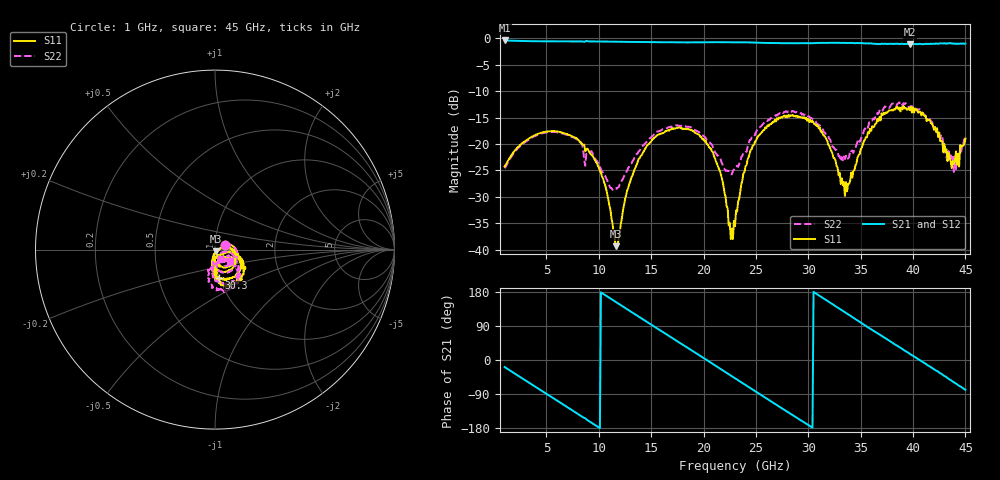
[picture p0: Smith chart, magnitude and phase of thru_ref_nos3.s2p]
!Keysight Technologies,N5247B,MY61255062,A.19.80.06
!Date: Monday, May 18, 2026 12:05:44
!Correction: S11(Cdelta 2-Port  )
!S21(Cdelta 2-Port  )
!S12(Cdelta 2-Port  )
!S22(Cdelta 2-Port  )
!S2P File: Measurements: S11, S21, S12, S22:
# Hz S  dB  R 50
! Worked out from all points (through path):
!   441 points, 1 GHz to 45 GHz, reference 50 ohm
!   highest |S21| = -0.40 dB at 1 GHz (marker M1); lowest = -1.1 dB at 39.7 GHz (marker M2)
!   group delay of S21, straight-line fit = 49.2 ps
!   lowest |S11| = -39.4 dB at 11.6 GHz (marker M3), VSWR 1.02, Z = 50.5 - j0.956 ohm
!   |S11| at or under -10 dB: start of sweep to end of sweep
!   |S22| runs from -28.7 to -12.1 dB; largest |S21 - S12| = 0.021
!   S11 on the Smith chart (normalised r, x): 1 GHz: 1.12, +0.06; 30.3 GHz: 0.99, -0.33; 45 GHz: 1.20, -0.15
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1e9  -24.28 23.8  -0.40 -18.5  -0.40 -18.5  -24.60 23.9
4.8e9  -17.73 -16.6  -0.56 -85.8  -0.57 -85.8  -17.88 -14.0
8.4e9  -20.05 -70.3  -0.59 -149.6  -0.59 -149.6  -20.08 -57.5
1.04e10  -26.52 -96.1  -0.61 174.9  -0.61 174.8  -25.44 -70.6
1.16e10  -39.36 -61.5  -0.64 153.5  -0.64 153.5  -28.34 -36.8
1.36e10  -23.96 10.1  -0.68 118.2  -0.68 118.1  -21.95 -9.7
1.57e10  -18.20 -20.2  -0.76 81.0  -0.77 81.0  -17.62 -29.7
1.96e10  -18.33 -79.6  -0.75 12.4  -0.76 12.3  -17.82 -75.7
2.15e10  -24.92 -104.1  -0.74 -21.5  -0.74 -21.5  -22.57 -81.8
2.26e10  -37.99 -70.6  -0.76 -41.1  -0.76 -41.1  -25.51 -53.3
2.3e10  -35.57 -15.1  -0.77 -48.2  -0.77 -48.2  -24.33 -42.7
2.53e10  -18.36 -6.6  -0.83 -89.3  -0.84 -89.3  -17.04 -28.4
2.75e10  -14.98 -41.5  -0.90 -127.8  -0.93 -127.9  -13.99 -54.6
3.03e10  -15.84 -81.8  -0.94 -176.9  -0.92 -176.8  -15.09 -86.6
3.04e10  -15.62 -78.5  -0.91 -178.6  -0.91 -178.7  -15.27 -90.0
3.37e10  -28.97 -54.4  -0.89 122.4  -0.89 122.0  -22.87 -59.2
3.56e10  -18.71 -12.5  -0.94 88.1  -0.94 88.0  -16.64 -37.9
3.77e10  -13.69 -39.7  -1.06 51.5  -1.04 51.4  -13.22 -58.9
3.97e10  -13.57 -63.1  -1.12 16.0  -1.11 16.4  -12.96 -82.7
4.18e10  -16.12 -85.4  -1.06 -20.5  -1.09 -20.7  -15.83 -106.5
4.37e10  -24.58 -74.4  -0.99 -55.2  -0.93 -55.8  -22.84 -78.9
4.5e10  -18.99 -33.0  -0.99 -78.7  -1.04 -78.8  -19.35 -37.9
